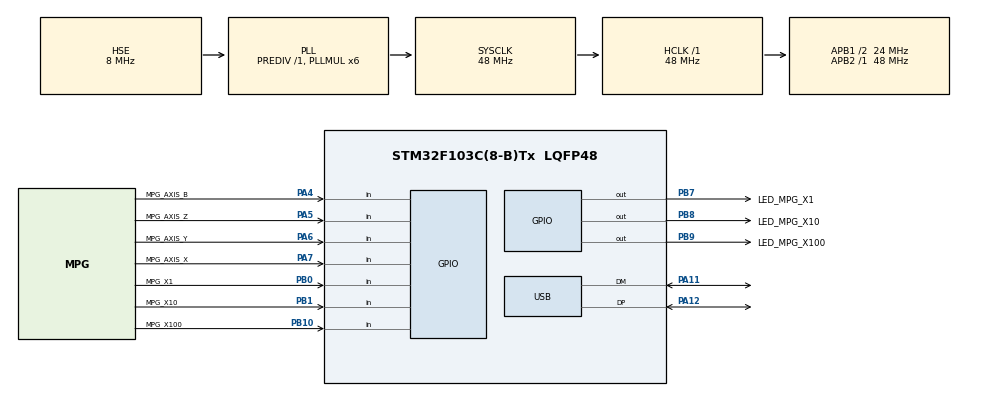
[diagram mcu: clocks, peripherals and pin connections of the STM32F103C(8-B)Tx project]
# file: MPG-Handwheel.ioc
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Mcu.Family=STM32F1
Mcu.Name=STM32F103C(8-B)Tx
Mcu.Package=LQFP48
NVIC.PriorityGroup=NVIC_PRIORITYGROUP_4
NVIC.USB_LP_CAN1_RX0_IRQn=true\:0\:0\:false\:false\:true\:false\:true\:true
PA11.Mode=Device
PA11.Signal=USB_DM
PA12.Mode=Device
PA12.Signal=USB_DP
PA13.Mode=Serial_Wire
PA13.Signal=SYS_JTMS-SWDIO
PA14.Mode=Serial_Wire
PA14.Signal=SYS_JTCK-SWCLK
PA4.GPIO_Label=MPG_AXIS_B
PA4.GPIO_PuPd=GPIO_PULLUP
PA4.Signal=GPIO_Input
PA5.GPIO_Label=MPG_AXIS_Z
PA5.GPIO_PuPd=GPIO_PULLUP
PA5.Signal=GPIO_Input
PA6.GPIO_Label=MPG_AXIS_Y
PA6.GPIO_PuPd=GPIO_PULLUP
PA6.Signal=GPIO_Input
PA7.GPIO_Label=MPG_AXIS_X
PA7.GPIO_PuPd=GPIO_PULLUP
PA7.Signal=GPIO_Input
PB0.GPIO_Label=MPG_X1
PB0.GPIO_PuPd=GPIO_PULLUP
PB0.Signal=GPIO_Input
PB1.GPIO_Label=MPG_X10
PB1.GPIO_PuPd=GPIO_PULLUP
PB1.Signal=GPIO_Input
PB10.GPIO_Label=MPG_X100
PB10.GPIO_PuPd=GPIO_PULLUP
PB10.Signal=GPIO_Input
PB7.GPIO_Label=LED_MPG_X1
PB7.GPIO_PuPd=GPIO_PULLDOWN
PB7.Signal=GPIO_Output
PB8.GPIO_Label=LED_MPG_X10
PB8.GPIO_PuPd=GPIO_PULLDOWN
PB8.Signal=GPIO_Output
PB9.GPIO_Label=LED_MPG_X100
PB9.GPIO_PuPd=GPIO_PULLDOWN
PB9.Signal=GPIO_Output
PD0-OSC_IN.Mode=HSE-External-Oscillator
PD0-OSC_IN.Signal=RCC_OSC_IN
PD1-OSC_OUT.Mode=HSE-External-Oscillator
PD1-OSC_OUT.Signal=RCC_OSC_OUT
ProjectManager.HeapSize=0x200
ProjectManager.StackSize=0x400
ProjectManager.TargetToolchain=STM32CubeIDE
RCC.AHBFreq_Value=48000000
RCC.APB1CLKDivider=RCC_HCLK_DIV2
RCC.APB1Freq_Value=24000000
RCC.APB1TimFreq_Value=48000000
RCC.APB2Freq_Value=48000000
RCC.APB2TimFreq_Value=48000000
RCC.HCLKFreq_Value=48000000
RCC.PLLMUL=RCC_PLL_MUL6
RCC.SYSCLKFreq_VALUE=48000000
RCC.SYSCLKSource=RCC_SYSCLKSOURCE_PLLCLK
RCC.USBFreq_Value=48000000
USB_DEVICE.CLASS_NAME_FS=CDC
USB_DEVICE.VirtualMode=Cdc
USB_DEVICE.VirtualModeFS=Cdc_FS
VP_USB_DEVICE_VS_USB_DEVICE_CDC_FS.Mode=CDC_FS
board=custom

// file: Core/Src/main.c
/* USER CODE BEGIN Header */
/**
  ******************************************************************************
  * @file           : main.c
  * @brief          : Main program body
  ******************************************************************************
  * @attention
  *
  * Copyright (c) 2026 STMicroelectronics.
  * All rights reserved.
  *
  * This software is licensed under terms that can be found in the LICENSE file
  * in the root directory of this software component.
  * If no LICENSE file comes with this software, it is provided AS-IS.
  *
  ******************************************************************************
  */
/* USER CODE END Header */
#include "main.h"
#include "usb_device.h"

void SystemClock_Config(void);
static void MX_GPIO_Init(void);

/* USER CODE BEGIN 0 */
#include "usbd_cdc_if.h"
#include <string.h>
#include <stdio.h>

uint8_t Read_MPG_Mult(void)
{
    if (!HAL_GPIO_ReadPin(MPG_X1_GPIO_Port, MPG_X1_Pin))   return 0b00000100; // x1
    if (!HAL_GPIO_ReadPin(MPG_X10_GPIO_Port, MPG_X10_Pin)) return 0b00000010; // x10
    if (!HAL_GPIO_ReadPin(MPG_X100_GPIO_Port, MPG_X100_Pin))return 0b00000001; // x100
    return 0;
}

uint8_t Read_MPG_Axis(void)
{
    if (!HAL_GPIO_ReadPin(MPG_AXIS_X_GPIO_Port, MPG_AXIS_X_Pin)) return 0b10000000; //axis x
    if (!HAL_GPIO_ReadPin(MPG_AXIS_Y_GPIO_Port, MPG_AXIS_Y_Pin)) return 0b01000000; // y
    if (!HAL_GPIO_ReadPin(MPG_AXIS_Z_GPIO_Port, MPG_AXIS_Z_Pin)) return 0b00100000; // z
    if (!HAL_GPIO_ReadPin(MPG_AXIS_B_GPIO_Port, MPG_AXIS_B_Pin)) return 0b00001000; // b
    return 0;
}

void Update_MPG_LED(uint8_t mult)
{
    HAL_GPIO_WritePin(GPIOB,
        LED_MPG_X1_Pin|LED_MPG_X10_Pin|LED_MPG_X100_Pin,
        GPIO_PIN_RESET);

    if (mult & 0b00000100)
        HAL_GPIO_WritePin(LED_MPG_X1_GPIO_Port, LED_MPG_X1_Pin, SET);
    else if (mult & 0b00000010)
        HAL_GPIO_WritePin(LED_MPG_X10_GPIO_Port, LED_MPG_X10_Pin, SET);
    else if (mult & 0b00000001)
        HAL_GPIO_WritePin(LED_MPG_X100_GPIO_Port, LED_MPG_X100_Pin, SET);
}

void CDC_Print(char *msg)
{
    CDC_Transmit_FS((uint8_t*)msg, strlen(msg));
}

void Print_Verbose(uint8_t state)
{
    char buf[32];
    char bits[9];

    for(int i = 0; i < 8; i++)
        bits[i] = (state & (1 << (7 - i))) ? '1' : '0';

    bits[8] = '\0';

    sprintf(buf, "X:%s\r\n", bits);
    CDC_Print(buf);
}

/* USER CODE END 0 */

int main(void)
{

  /* MCU Configuration--------------------------------------------------------*/

  /* Reset of all peripherals, Initializes the Flash interface and the Systick. */
  HAL_Init();

  /* Configure the system clock */
  SystemClock_Config();

  /* Initialize all configured peripherals */
  MX_GPIO_Init();
  MX_USB_DEVICE_Init();

  /* Infinite loop */
  /* USER CODE BEGIN WHILE */
  while (1)
  {

	  uint8_t axis = Read_MPG_Axis();
	  uint8_t mult = Read_MPG_Mult();

	  uint8_t state = axis | mult;

	  Update_MPG_LED(mult);

	  Print_Verbose(state);

	  HAL_Delay(1);
    /* USER CODE END WHILE */

  }
}

void SystemClock_Config(void)
{
  RCC_OscInitTypeDef RCC_OscInitStruct = {0};
  RCC_ClkInitTypeDef RCC_ClkInitStruct = {0};
  RCC_PeriphCLKInitTypeDef PeriphClkInit = {0};

  /** Initializes the RCC Oscillators according to the specified parameters
  * in the RCC_OscInitTypeDef structure.
  */
  RCC_OscInitStruct.OscillatorType = RCC_OSCILLATORTYPE_HSE;
  RCC_OscInitStruct.HSEState = RCC_HSE_ON;
  RCC_OscInitStruct.HSEPredivValue = RCC_HSE_PREDIV_DIV1;
  RCC_OscInitStruct.HSIState = RCC_HSI_ON;
  RCC_OscInitStruct.PLL.PLLState = RCC_PLL_ON;
  RCC_OscInitStruct.PLL.PLLSource = RCC_PLLSOURCE_HSE;
  RCC_OscInitStruct.PLL.PLLMUL = RCC_PLL_MUL6;
  if (HAL_RCC_OscConfig(&RCC_OscInitStruct) != HAL_OK)
  {
    Error_Handler();
  }

  /** Initializes the CPU, AHB and APB buses clocks
  */
  RCC_ClkInitStruct.ClockType = RCC_CLOCKTYPE_HCLK|RCC_CLOCKTYPE_SYSCLK
                              |RCC_CLOCKTYPE_PCLK1|RCC_CLOCKTYPE_PCLK2;
  RCC_ClkInitStruct.SYSCLKSource = RCC_SYSCLKSOURCE_PLLCLK;
  RCC_ClkInitStruct.AHBCLKDivider = RCC_SYSCLK_DIV1;
  RCC_ClkInitStruct.APB1CLKDivider = RCC_HCLK_DIV2;
  RCC_ClkInitStruct.APB2CLKDivider = RCC_HCLK_DIV1;

  if (HAL_RCC_ClockConfig(&RCC_ClkInitStruct, FLASH_LATENCY_1) != HAL_OK)
  {
    Error_Handler();
  }
  PeriphClkInit.PeriphClockSelection = RCC_PERIPHCLK_USB;
  PeriphClkInit.UsbClockSelection = RCC_USBCLKSOURCE_PLL;
  if (HAL_RCCEx_PeriphCLKConfig(&PeriphClkInit) != HAL_OK)
  {
    Error_Handler();
  }
}

static void MX_GPIO_Init(void)
{
  GPIO_InitTypeDef GPIO_InitStruct = {0};

  /* GPIO Ports Clock Enable */
  __HAL_RCC_GPIOD_CLK_ENABLE();
  __HAL_RCC_GPIOA_CLK_ENABLE();
  __HAL_RCC_GPIOB_CLK_ENABLE();

  /*Configure GPIO pin Output Level */
  HAL_GPIO_WritePin(GPIOB, LED_MPG_X1_Pin|LED_MPG_X10_Pin|LED_MPG_X100_Pin, GPIO_PIN_RESET);

  /*Configure GPIO pins : MPG_AXIS_B_Pin MPG_AXIS_Z_Pin MPG_AXIS_Y_Pin MPG_AXIS_X_Pin */
  GPIO_InitStruct.Pin = MPG_AXIS_B_Pin|MPG_AXIS_Z_Pin|MPG_AXIS_Y_Pin|MPG_AXIS_X_Pin;
  GPIO_InitStruct.Mode = GPIO_MODE_INPUT;
  GPIO_InitStruct.Pull = GPIO_PULLUP;
  HAL_GPIO_Init(GPIOA, &GPIO_InitStruct);

  /*Configure GPIO pins : MPG_X1_Pin MPG_X10_Pin MPG_X100_Pin */
  GPIO_InitStruct.Pin = MPG_X1_Pin|MPG_X10_Pin|MPG_X100_Pin;
  GPIO_InitStruct.Mode = GPIO_MODE_INPUT;
  GPIO_InitStruct.Pull = GPIO_PULLUP;
  HAL_GPIO_Init(GPIOB, &GPIO_InitStruct);

  /*Configure GPIO pins : LED_MPG_X1_Pin LED_MPG_X10_Pin LED_MPG_X100_Pin */
  GPIO_InitStruct.Pin = LED_MPG_X1_Pin|LED_MPG_X10_Pin|LED_MPG_X100_Pin;
  GPIO_InitStruct.Mode = GPIO_MODE_OUTPUT_PP;
  GPIO_InitStruct.Pull = GPIO_PULLDOWN;
  GPIO_InitStruct.Speed = GPIO_SPEED_FREQ_LOW;
  HAL_GPIO_Init(GPIOB, &GPIO_InitStruct);

}

void Error_Handler(void)
{
  __disable_irq();
  while (1)
  {
  }
}
